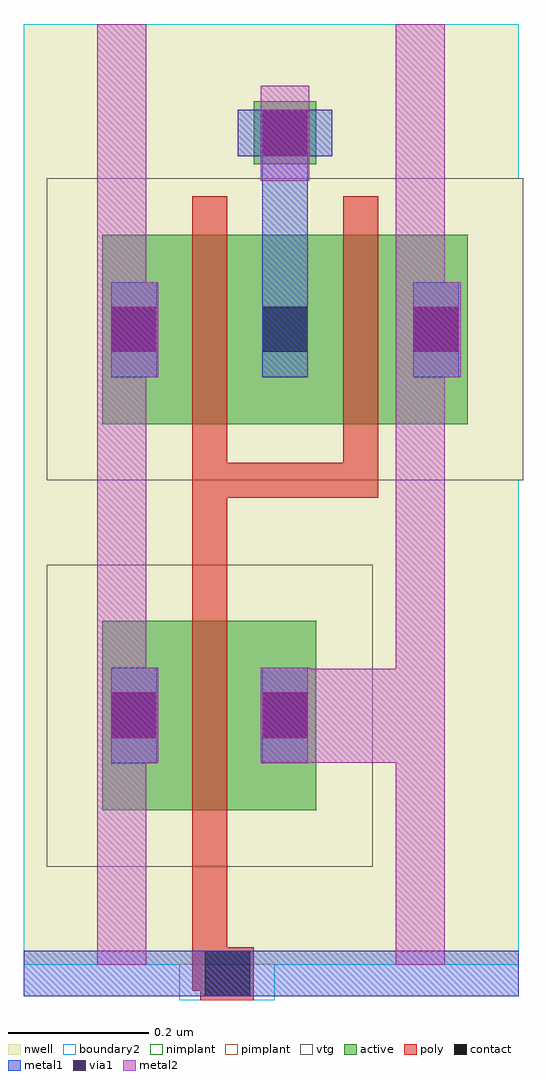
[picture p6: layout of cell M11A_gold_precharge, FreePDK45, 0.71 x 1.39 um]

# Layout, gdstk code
import gdstk
lib = gdstk.Library(unit=1e-6, precision=1e-09)
def R(c, l, rs):  # rectangles x0, y0, x1, y1
    for r in rs: c.add(gdstk.rectangle(r[:2], r[2:], *l))
active = (1, 0)
nwell = (3, 0)
nimplant = (4, 0)
pimplant = (5, 0)
vtg = (6, 0)
poly = (9, 0)
contact = (10, 0)
metal1 = (11, 0)
via1 = (12, 0)
metal2 = (13, 0)
boundary2 = (239, 0)

m11a_gold_precharge = lib.new_cell('M11A_gold_precharge')
R(m11a_gold_precharge, active, [(0.112,0.22,0.417,0.49), (0.112,0.31,0.203,0.4), (0.328,0.31,0.417,0.4), (0.112,0.77,0.417,1.04), (0.328,0.77,0.633,1.04), (0.112,0.86,0.203,0.95), (0.328,0.86,0.417,0.95), (0.328,0.86,0.417,0.95), (0.542,0.86,0.633,0.95), (0.328,1.14,0.417,1.23)])
R(m11a_gold_precharge, nwell, [(0,0,0.705,1.34), (0.033,0.14,0.497,0.57), (0.057,0.255,0.258,0.455), (0.273,0.255,0.472,0.455), (0.033,0.69,0.497,1.12), (0.247,0.69,0.712,1.12), (0.057,0.805,0.258,1.005), (0.273,0.805,0.472,1.005), (0.273,0.805,0.473,1.005), (0.488,0.805,0.687,1.005), (0.272,1.085,0.473,1.285)])
R(m11a_gold_precharge, nimplant, [(0.328,1.14,0.417,1.23)])
R(m11a_gold_precharge, pimplant, [(0.112,0.22,0.417,0.49), (0.112,0.31,0.203,0.4), (0.328,0.31,0.417,0.4), (0.112,0.77,0.417,1.04), (0.328,0.77,0.633,1.04), (0.112,0.86,0.203,0.95), (0.328,0.86,0.417,0.95), (0.328,0.86,0.417,0.95), (0.542,0.86,0.633,0.95)])
R(m11a_gold_precharge, vtg, [(0.033,0.14,0.497,0.57), (0.033,0.69,0.497,1.12), (0.247,0.69,0.712,1.12)])
R(m11a_gold_precharge, poly, [(0.252,-0.05,0.328,0.025), (0.24,-0.037,0.29,0.013), (0.265,-0.037,0.29,0.013), (0.24,-0.013,0.29,0.165), (0.24,0.165,0.29,0.545), (0.24,0.165,0.29,0.545), (0.24,0.545,0.29,0.715), (0.24,0.665,0.505,0.715), (0.24,0.715,0.29,1.095), (0.24,0.715,0.29,1.095), (0.455,0.715,0.505,1.095), (0.455,0.715,0.505,1.095)])
R(m11a_gold_precharge, contact, [(0.258,-0.045,0.323,0.02), (0.125,0.323,0.19,0.387), (0.34,0.323,0.405,0.387), (0.125,0.873,0.19,0.937), (0.34,0.873,0.405,0.937), (0.34,0.873,0.405,0.937), (0.555,0.873,0.62,0.937), (0.34,1.153,0.405,1.218)])
R(m11a_gold_precharge, metal1, [(0,-0.045,0.705,0.02), (0.222,-0.045,0.358,0.02), (0.125,0.287,0.19,0.422), (0.125,0.287,0.19,0.422), (0.34,0.287,0.405,0.422), (0.34,0.287,0.405,0.422), (0.125,0.288,0.19,0.423), (0.34,0.288,0.405,0.423), (0.125,0.837,0.19,0.972), (0.125,0.837,0.19,0.972), (0.125,0.837,0.19,0.972), (0.34,0.837,0.405,0.972), (0.34,0.837,0.405,0.972), (0.34,0.837,0.405,0.972), (0.34,0.837,0.405,0.972), (0.555,0.837,0.62,0.972), (0.555,0.837,0.62,0.972), (0.555,0.837,0.62,0.972), (0.34,0.905,0.405,1.185), (0.305,1.152,0.44,1.218), (0.305,1.153,0.44,1.218), (0.34,1.153,0.405,1.218)])
R(m11a_gold_precharge, via1, [(0.125,0.323,0.19,0.388), (0.34,0.323,0.405,0.388), (0.125,0.873,0.19,0.937), (0.555,0.873,0.62,0.937), (0.34,1.152,0.405,1.218)])
R(m11a_gold_precharge, metal2, [(0.105,0,0.175,1.34), (0.105,0,0.175,1.34), (0.53,0,0.6,1.34), (0.53,0,0.6,1.34), (0.122,0.288,0.192,0.423), (0.14,0.288,0.157,0.422), (0.338,0.288,0.408,0.423), (0.372,0.288,0.565,0.422), (0.122,0.837,0.192,0.972), (0.14,0.837,0.157,0.972), (0.552,0.837,0.623,0.972), (0.565,0.837,0.588,0.972), (0.338,1.117,0.407,1.252)])
R(m11a_gold_precharge, boundary2, [(0.222,-0.05,0.358,0.025), (0,0,0.705,1.34), (0.033,0.14,0.497,0.57), (0.057,0.255,0.258,0.455), (0.273,0.255,0.472,0.455), (0.122,0.288,0.192,0.423), (0.338,0.288,0.408,0.423), (0.033,0.69,0.497,1.12), (0.247,0.69,0.712,1.12), (0.057,0.805,0.258,1.005), (0.273,0.805,0.472,1.005), (0.273,0.805,0.473,1.005), (0.488,0.805,0.687,1.005), (0.122,0.837,0.192,0.972), (0.552,0.837,0.623,0.972), (0.272,1.085,0.473,1.285), (0.305,1.117,0.44,1.252)])

lib.write_gds('M11A_gold_precharge.gds')
